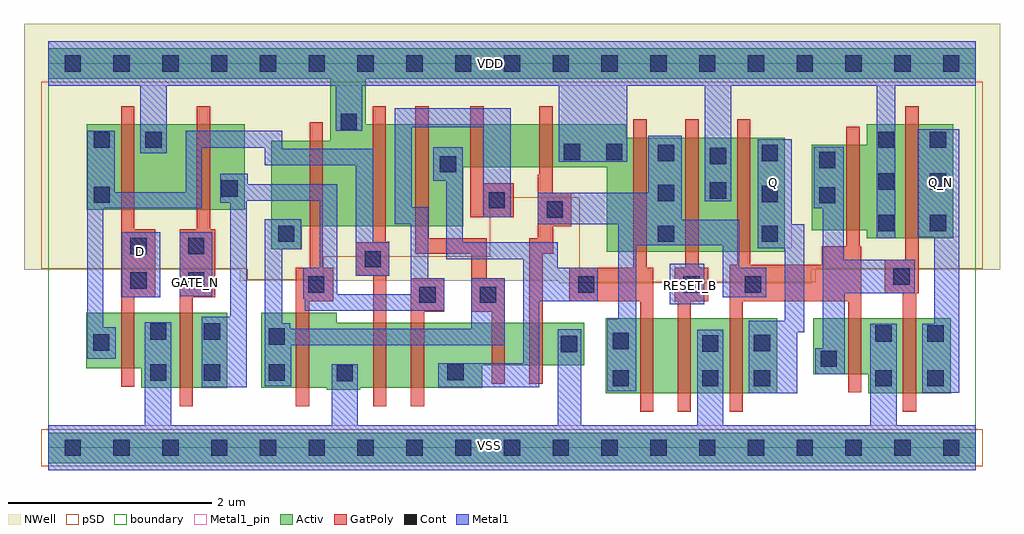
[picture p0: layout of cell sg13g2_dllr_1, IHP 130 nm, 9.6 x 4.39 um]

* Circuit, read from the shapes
.subckt sg13g2_dllr_1 D GATE_N Q Q_N RESET_B VDD VSS
XM1 VSS D n1 VSS sg13_lv_nmos w=0.55u l=0.13u
XM2 n2 GATE_N VSS VSS sg13_lv_nmos w=0.74u l=0.13u
XM3 VSS n2 n3 VSS sg13_lv_nmos w=0.74u l=0.13u
XM4 n4 n1 VSS VSS sg13_lv_nmos w=0.64u l=0.13u
XM5 n5 n2 n4 VSS sg13_lv_nmos w=0.64u l=0.13u
XM6 n6 n3 n5 VSS sg13_lv_nmos w=0.42u l=0.13u
XM7 VSS n7 n6 VSS sg13_lv_nmos w=0.42u l=0.13u
XM8 n8 n5 n7 VSS sg13_lv_nmos w=0.74u l=0.13u
XM9 VSS RESET_B n8 VSS sg13_lv_nmos w=0.74u l=0.13u
XM10 Q n7 VSS VSS sg13_lv_nmos w=0.74u l=0.13u
XM11 VSS n7 n9 VSS sg13_lv_nmos w=0.55u l=0.13u
XM12 Q_N n9 VSS VSS sg13_lv_nmos w=0.74u l=0.13u
XM13 VDD D n1 VDD sg13_lv_pmos w=0.84u l=0.13u
XM14 n2 GATE_N VDD VDD sg13_lv_pmos w=0.84u l=0.13u
XM15 VDD n2 n3 VDD sg13_lv_pmos w=0.84u l=0.13u
XM16 n10 n1 VDD VDD sg13_lv_pmos w=1u l=0.13u
XM17 n5 n3 n10 VDD sg13_lv_pmos w=1u l=0.13u
XM18 n11 n2 n5 VDD sg13_lv_pmos w=0.42u l=0.13u
XM19 VDD n7 n11 VDD sg13_lv_pmos w=0.42u l=0.13u
XM20 n7 n5 VDD VDD sg13_lv_pmos w=1.12u l=0.13u
XM21 VDD RESET_B n7 VDD sg13_lv_pmos w=1.12u l=0.13u
XM22 Q n7 VDD VDD sg13_lv_pmos w=1.12u l=0.13u
XM23 VDD n7 n9 VDD sg13_lv_pmos w=0.84u l=0.13u
XM24 Q_N n9 VDD VDD sg13_lv_pmos w=1.12u l=0.13u
.ends

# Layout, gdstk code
import gdstk
lib = gdstk.Library(unit=1e-6, precision=1e-09)
def R(c, l, rs):  # rectangles x0, y0, x1, y1
    for r in rs: c.add(gdstk.rectangle(r[:2], r[2:], *l))
def A(c, l, x, y, w, h, nx, ny, dx, dy):  # array of equal rectangles
    R(c, l, [(x+i*dx, y+j*dy, x+i*dx+w, y+j*dy+h) for i in range(nx) for j in range(ny)])
def P(c, l, *ps):  # polygons
    for p in ps: c.add(gdstk.Polygon(p, *l))
Activ = (1, 0)
GatPoly = (5, 0)
Cont = (6, 0)
Metal1 = (8, 0)
Metal1_pin = (8, 2)
pSD = (14, 0)
NWell = (31, 0)
boundary = (189, 4)

sg13g2_dllr_1 = lib.new_cell('sg13g2_dllr_1')
R(sg13g2_dllr_1, Activ, [(0,-0.15,9.12,0.15), (5.48,0.535,7.17,1.275), (0.375,2.34,1.93,3.18)])
P(sg13g2_dllr_1, Activ, [(0.915,0.59),(0.915,0.78),(0.37,0.78),(0.37,1.33),(1.76,1.33),(1.76,0.59)],
  [(5.49,1.93),(5.49,2.76),(4.08,2.76),(4.08,2.18),(2.49,2.18),(2.49,1.955),(2.19,1.955),(2.19,3.02),(2.77,3.02),(2.77,3.63),(0,3.63),(0,3.93),(9.12,3.93),(9.12,3.63),(3.12,3.63),(3.12,3.18),(5.685,3.18),(5.685,3.05),(7.245,3.05),(7.245,1.93)],
  [(8.05,2.06),(8.05,2.14),(7.51,2.14),(7.51,2.98),(8.05,2.98),(8.05,3.18),(8.9,3.18),(8.9,2.06)],
  [(2.74,0.57),(2.74,0.59),(2.095,0.59),(2.095,1.33),(2.835,1.33),(2.835,1.23),(5.27,1.23),(5.27,0.81),(4.265,0.81),(4.265,0.59),(3.065,0.59),(3.065,0.57)],
  [(8.065,0.535),(8.065,0.725),(7.525,0.725),(7.525,1.275),(8.875,1.275),(8.875,0.535)])
P(sg13g2_dllr_1, GatPoly, [(1.29,0.41),(1.29,2.15),(1.46,2.15),(1.46,3.36),(1.59,3.36),(1.59,2.15),(1.64,2.15),(1.64,1.48),(1.42,1.48),(1.42,0.41)],
  [(8.405,0.355),(8.405,1.52),(8.225,1.52),(8.225,1.85),(8.43,1.85),(8.43,3.36),(8.56,3.36),(8.56,1.52),(8.535,1.52),(8.535,0.355)],
  [(6.7,0.355),(6.7,1.8),(6.775,1.8),(6.775,3.23),(6.905,3.23),(6.905,1.8),(7.605,1.8),(7.605,1.98),(7.85,1.98),(7.85,3.16),(7.98,3.16),(7.98,1.98),(7.995,1.98),(7.995,0.545),(7.865,0.545),(7.865,1.44),(6.83,1.44),(6.83,0.355)],
  [(6.19,0.355),(6.19,1.44),(6.16,1.44),(6.16,1.77),(6.265,1.77),(6.265,3.23),(6.395,3.23),(6.395,1.77),(6.49,1.77),(6.49,1.44),(6.32,1.44),(6.32,0.355)],
  [(5.82,0.355),(5.82,1.44),(5.125,1.44),(5.125,1.77),(5.755,1.77),(5.755,3.23),(5.885,3.23),(5.885,1.77),(5.95,1.77),(5.95,0.355)],
  [(4.73,0.63),(4.73,2.06),(4.815,2.06),(4.815,2.685),(4.83,2.685),(4.83,3.36),(4.96,3.36),(4.96,2.51),(5.145,2.51),(5.145,2.18),(4.965,2.18),(4.965,1.91),(4.86,1.91),(4.86,0.63)],
  [(4.15,2.27),(4.15,3.36),(4.28,3.36),(4.28,2.6),(4.575,2.6),(4.575,2.27)],
  [(4.36,0.63),(4.36,1.34),(4.16,1.34),(4.16,1.91),(3.61,1.91),(3.61,3.36),(3.74,3.36),(3.74,2.06),(4.31,2.06),(4.31,1.67),(4.49,1.67),(4.49,0.63)],
  [(3.565,0.41),(3.565,1.67),(3.895,1.67),(3.895,1.34),(3.695,1.34),(3.695,0.41)],
  [(3.195,0.41),(3.195,1.69),(3.025,1.69),(3.025,2.02),(3.19,2.02),(3.19,3.36),(3.32,3.36),(3.32,2.025),(3.355,2.025),(3.355,1.69),(3.325,1.69),(3.325,0.41)],
  [(2.435,0.41),(2.435,1.77),(2.57,1.77),(2.57,3.2),(2.7,3.2),(2.7,1.77),(2.8,1.77),(2.8,1.44),(2.565,1.44),(2.565,0.41)],
  [(0.715,0.6),(0.715,3.36),(0.845,3.36),(0.845,2.15),(1.05,2.15),(1.05,1.48),(0.845,1.48),(0.845,0.6)])
A(sg13g2_dllr_1, Cont, 0.16, -0.08, 0.16, 0.16, 19, 2, 0.48, 3.78)
A(sg13g2_dllr_1, Cont, 8.16, 2.13, 0.16, 0.16, 1, 3, 0, 0.41)
A(sg13g2_dllr_1, Cont, 8.67, 2.13, 0.16, 0.16, 1, 3, 0, 0.41)
R(sg13g2_dllr_1, Cont, [(5.55,0.605,5.71,0.765), (6.43,0.605,6.59,0.765), (6.94,0.605,7.1,0.765), (8.135,0.605,8.295,0.765), (8.645,0.605,8.805,0.765), (2.835,0.655,2.995,0.815), (1,0.66,1.16,0.82), (1.53,0.66,1.69,0.82), (2.165,0.66,2.325,0.82), (3.925,0.665,4.085,0.825), (7.595,0.795,7.755,0.955), (5.04,0.94,5.2,1.1), (6.43,0.945,6.59,1.105), (6.94,0.95,7.1,1.11), (0.44,0.955,0.6,1.115), (5.55,0.97,5.71,1.13), (2.165,1.015,2.325,1.175), (8.135,1.045,8.295,1.205), (8.645,1.045,8.805,1.205), (1,1.065,1.16,1.225), (1.53,1.065,1.69,1.225), (3.65,1.425,3.81,1.585), (4.245,1.425,4.405,1.585), (2.555,1.525,2.715,1.685), (5.21,1.525,5.37,1.685), (6.245,1.525,6.405,1.685), (6.85,1.525,7.01,1.685), (0.805,1.565,0.965,1.725), (1.375,1.565,1.535,1.725), (8.31,1.605,8.47,1.765), (3.11,1.775,3.27,1.935), (0.805,1.905,0.965,2.065), (1.375,1.905,1.535,2.065), (2.26,2.025,2.42,2.185), (5.995,2.025,6.155,2.185), (7.015,2.025,7.175,2.185), (4.9,2.265,5.06,2.425), (4.33,2.355,4.49,2.515), (7.58,2.405,7.74,2.565), (0.445,2.41,0.605,2.57), (7.015,2.415,7.175,2.575), (5.995,2.425,6.155,2.585), (6.505,2.45,6.665,2.61), (1.7,2.47,1.86,2.63), (3.85,2.71,4.01,2.87), (7.58,2.75,7.74,2.91), (6.505,2.79,6.665,2.95), (5.995,2.82,6.155,2.98), (7.015,2.82,7.175,2.98), (5.07,2.83,5.23,2.99), (5.485,2.83,5.645,2.99), (0.445,2.95,0.605,3.11), (0.955,2.95,1.115,3.11), (2.875,3.125,3.035,3.285)])
R(sg13g2_dllr_1, Metal1, [(6.11,1.41,6.45,1.81), (0.72,1.48,1.1,2.12), (1.29,1.49,1.61,2.12)])
P(sg13g2_dllr_1, Metal1, [(7.545,0.725),(7.545,0.98),(7.615,0.98),(7.615,2.355),(7.53,2.355),(7.53,2.96),(7.825,2.96),(7.825,1.85),(8.52,1.85),(8.52,1.52),(7.835,1.52),(7.835,0.725)],
  [(5.495,0.555),(5.495,1.27),(5.605,1.27),(5.605,2.2),(4.815,2.2),(4.815,2.51),(5.9,2.51),(5.9,3.07),(6.23,3.07),(6.23,2.245),(6.795,2.245),(6.795,1.77),(7.06,1.77),(7.06,1.48),(6.635,1.48),(6.635,1.99),(5.78,1.99),(5.78,0.555)],
  [(8.595,0.54),(8.595,1.22),(8.715,1.22),(8.715,2.07),(8.55,2.07),(8.55,3.135),(8.96,3.135),(8.96,0.54)],
  [(3.835,0.595),(3.835,0.83),(4.67,0.83),(4.67,1.855),(3.915,1.855),(3.915,2.625),(3.785,2.625),(3.785,2.955),(4.075,2.955),(4.075,2.02),(5.01,2.02),(5.01,1.77),(5.405,1.77),(5.405,1.44),(4.83,1.44),(4.83,0.595)],
  [(2.13,0.605),(2.13,2.25),(2.485,2.25),(2.485,1.955),(2.3,1.955),(2.3,1.225),(2.38,1.225),(2.38,1.17),(4.16,1.17),(4.16,1.67),(4.49,1.67),(4.49,1.01),(2.39,1.01),(2.39,0.605)],
  [(0,-0.22),(0,0.22),(0.95,0.22),(0.95,1.235),(1.21,1.235),(1.21,0.22),(2.785,0.22),(2.785,0.82),(3.045,0.82),(3.045,0.22),(5.01,0.22),(5.01,1.165),(5.24,1.165),(5.24,0.22),(6.38,0.22),(6.38,1.16),(6.64,1.16),(6.64,0.22),(8.085,0.22),(8.085,1.22),(8.345,1.22),(8.345,0.22),(9.12,0.22),(9.12,-0.22)],
  [(8.15,2.06),(8.15,3.56),(6.715,3.56),(6.715,2.425),(6.455,2.425),(6.455,3.56),(5.695,3.56),(5.695,2.815),(5.02,2.815),(5.02,3.56),(3.085,3.56),(3.085,3.12),(2.825,3.12),(2.825,3.56),(1.165,3.56),(1.165,2.895),(0.905,2.895),(0.905,3.56),(0,3.56),(0,4),(9.12,4),(9.12,3.56),(8.33,3.56),(8.33,2.06)],
  [(1.51,0.595),(1.51,1.29),(1.79,1.29),(1.79,2.41),(1.69,2.41),(1.69,2.695),(1.96,2.695),(1.96,2.59),(2.84,2.59),(2.84,1.51),(3.565,1.51),(3.565,2.2),(3.405,2.2),(3.405,3.34),(4.55,3.34),(4.55,2.27),(4.275,2.27),(4.275,3.155),(3.575,3.155),(3.575,2.365),(3.735,2.365),(3.735,1.67),(3.895,1.67),(3.895,1.35),(2.52,1.35),(2.52,1.465),(2.505,1.465),(2.505,1.77),(2.67,1.77),(2.67,2.43),(1.95,2.43),(1.95,0.595)],
  [(0.38,0.875),(0.38,3.12),(0.655,3.12),(0.655,2.515),(1.35,2.515),(1.35,3.12),(2.3,3.12),(2.3,2.94),(3.195,2.94),(3.195,2.02),(3.355,2.02),(3.355,1.69),(3.025,1.69),(3.025,2.78),(2.13,2.78),(2.13,2.95),(1.51,2.95),(1.51,2.355),(0.54,2.355),(0.54,1.185),(0.66,1.185),(0.66,0.875)],
  [(6.89,0.535),(6.89,1.25),(7.245,1.25),(7.245,1.965),(6.975,1.965),(6.975,3.035),(7.31,3.035),(7.31,2.2),(7.435,2.2),(7.435,1.135),(7.365,1.135),(7.365,0.535)])
R(sg13g2_dllr_1, Metal1_pin, [(0,-0.22,9.12,0.22), (6.11,1.41,6.45,1.81), (0.72,1.48,1.1,2.12), (1.29,1.49,1.61,2.12), (6.975,1.965,7.31,3.035), (8.55,2.07,8.96,3.135), (0,3.56,9.12,4)])
R(sg13g2_dllr_1, pSD, [(-0.07,-0.18,9.19,0.18)])
P(sg13g2_dllr_1, pSD, [(5.22,1.63),(5.22,2.46),(4.345,2.46),(4.345,1.88),(2.71,1.88),(2.71,1.655),(1.955,1.655),(1.955,1.76),(-0.07,1.76),(-0.07,3.6),(9.19,3.6),(9.19,1.76),(7.55,1.76),(7.55,1.63)])
P(sg13g2_dllr_1, NWell, [(5.025,1.62),(5.025,1.645),(1.88,1.645),(1.88,1.75),(-0.24,1.75),(-0.24,4.17),(9.36,4.17),(9.36,1.75),(7.51,1.75),(7.51,1.62)])
R(sg13g2_dllr_1, boundary, [(0,0,9.12,3.78)])
sg13g2_dllr_1.add(gdstk.Label('GATE_N', (1.45,1.63), layer=8, texttype=25))
sg13g2_dllr_1.add(gdstk.Label('Q_N', (8.77,2.61), layer=8, texttype=25))
sg13g2_dllr_1.add(gdstk.Label('D', (0.91,1.93), layer=8, texttype=25))
sg13g2_dllr_1.add(gdstk.Label('RESET_B', (6.315,1.6), layer=8, texttype=25))
sg13g2_dllr_1.add(gdstk.Label('Q', (7.135,2.605), layer=8, texttype=25))
sg13g2_dllr_1.add(gdstk.Label('VDD', (4.35,3.78), layer=8, texttype=25))
sg13g2_dllr_1.add(gdstk.Label('VSS', (4.335,0.025), layer=8, texttype=25))

lib.write_gds('sg13g2_dllr_1.gds')
